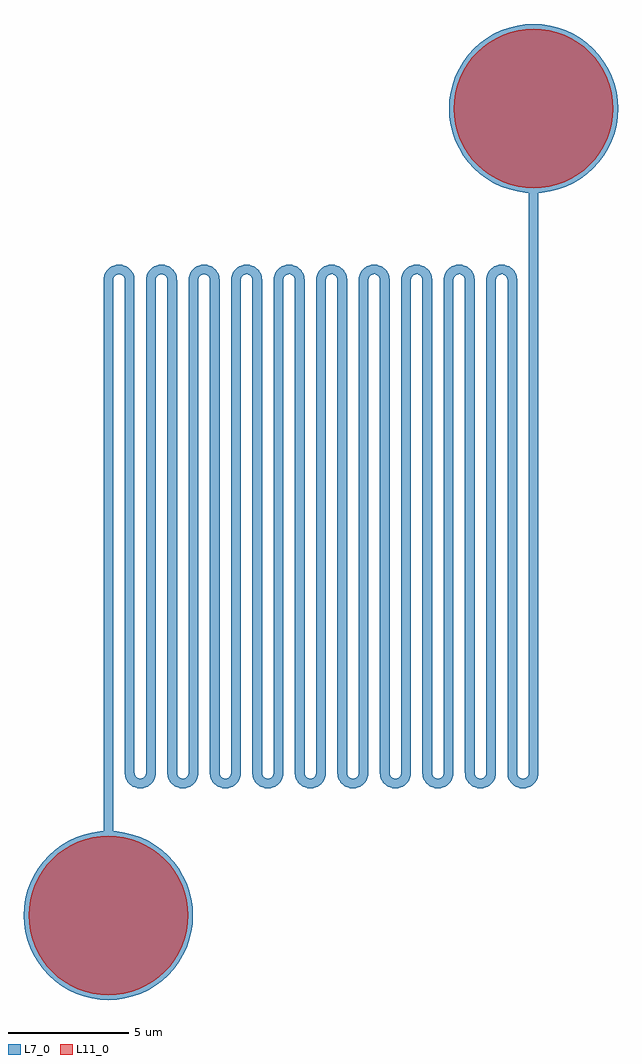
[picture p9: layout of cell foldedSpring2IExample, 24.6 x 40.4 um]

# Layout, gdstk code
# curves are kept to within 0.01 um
import gdstk
lib = gdstk.Library(unit=1e-6, precision=1e-09)
def P(c, l, *ps):  # polygons
    for p in ps: c.add(gdstk.Polygon(p, *l))
L7_0 = (7, 0)
L11_0 = (11, 0)

foldedspring2iexample = lib.new_cell('foldedSpring2IExample')
P(foldedspring2iexample, L7_0, [(0,-3.5),(-0.343,-3.483),(-0.683,-3.433),(-1.016,-3.349),(-1.339,-3.234),(-1.65,-3.087),(-1.944,-2.91),(-2.22,-2.706),(-2.475,-2.475),(-2.706,-2.22),(-2.91,-1.944),(-3.087,-1.65),(-3.234,-1.339),(-3.349,-1.016),(-3.433,-0.683),(-3.483,-0.343),(-3.5,0),(-3.483,0.343),(-3.433,0.683),(-3.349,1.016),(-3.234,1.339),(-3.087,1.65),(-2.91,1.944),(-2.706,2.22),(-2.475,2.475),(-2.22,2.706),(-1.944,2.91),(-1.65,3.087),(-1.339,3.234),(-1.016,3.349),(-0.683,3.433),(-0.2,3.49),(-0.2,16.7),(0.2,16.7),(0.2,3.49),(0.683,3.433),(1.016,3.349),(1.339,3.234),(1.65,3.087),(1.944,2.91),(2.22,2.706),(2.475,2.475),(2.706,2.22),(2.91,1.944),(3.087,1.65),(3.234,1.339),(3.349,1.016),(3.433,0.683),(3.483,0.343),(3.5,0),(3.483,-0.343),(3.433,-0.683),(3.349,-1.016),(3.234,-1.339),(3.087,-1.65),(2.91,-1.944),(2.706,-2.22),(2.475,-2.475),(2.22,-2.706),(1.944,-2.91),(1.65,-3.087),(1.339,-3.234),(1.016,-3.349),(0.683,-3.433),(0.343,-3.483)],
  [(1.32,5.26),(1.104,5.297),(0.964,5.368),(0.867,5.447),(0.741,5.626),(0.699,5.744),(0.681,5.869),(0.68,16.7),(1.08,16.7),(1.08,5.888),(1.098,5.808),(1.15,5.73),(1.228,5.678),(1.308,5.66),(1.412,5.678),(1.49,5.73),(1.542,5.808),(1.56,5.888),(1.56,16.7),(1.96,16.7),(1.959,5.869),(1.941,5.744),(1.899,5.626),(1.773,5.447),(1.676,5.368),(1.536,5.297)],
  [(3.08,5.26),(2.864,5.297),(2.724,5.368),(2.627,5.447),(2.501,5.626),(2.459,5.744),(2.441,5.869),(2.44,16.7),(2.84,16.7),(2.84,5.888),(2.858,5.808),(2.91,5.73),(2.988,5.678),(3.068,5.66),(3.172,5.678),(3.25,5.73),(3.302,5.808),(3.32,5.888),(3.32,16.7),(3.72,16.7),(3.719,5.869),(3.701,5.744),(3.659,5.626),(3.533,5.447),(3.436,5.368),(3.296,5.297)],
  [(4.84,5.26),(4.624,5.297),(4.484,5.368),(4.387,5.447),(4.261,5.626),(4.219,5.744),(4.201,5.869),(4.2,16.7),(4.6,16.7),(4.6,5.888),(4.618,5.808),(4.67,5.73),(4.748,5.678),(4.828,5.66),(4.932,5.678),(5.01,5.73),(5.062,5.808),(5.08,5.888),(5.08,16.7),(5.48,16.7),(5.479,5.869),(5.461,5.744),(5.419,5.626),(5.293,5.447),(5.196,5.368),(5.056,5.297)],
  [(6.6,5.26),(6.384,5.297),(6.244,5.368),(6.147,5.447),(6.021,5.626),(5.979,5.744),(5.961,5.869),(5.96,16.7),(6.36,16.7),(6.36,5.888),(6.378,5.808),(6.43,5.73),(6.508,5.678),(6.588,5.66),(6.692,5.678),(6.77,5.73),(6.822,5.808),(6.84,5.888),(6.84,16.7),(7.24,16.7),(7.239,5.869),(7.221,5.744),(7.179,5.626),(7.053,5.447),(6.956,5.368),(6.816,5.297)],
  [(8.36,5.26),(8.144,5.297),(8.004,5.368),(7.907,5.447),(7.781,5.626),(7.739,5.744),(7.721,5.869),(7.72,16.7),(8.12,16.7),(8.12,5.888),(8.138,5.808),(8.19,5.73),(8.268,5.678),(8.348,5.66),(8.452,5.678),(8.53,5.73),(8.582,5.808),(8.6,5.888),(8.6,16.7),(8.8,16.7),(8.8,5.436),(8.689,5.351),(8.576,5.297)],
  [(8.8,5.436),(8.8,16.7),(9,16.7),(9,5.9),(8.988,5.775),(8.939,5.626),(8.874,5.519)],
  [(10.12,5.26),(9.904,5.297),(9.764,5.368),(9.667,5.447),(9.541,5.626),(9.499,5.744),(9.481,5.869),(9.48,16.7),(9.88,16.7),(9.88,5.888),(9.898,5.808),(9.95,5.73),(10.028,5.678),(10.108,5.66),(10.212,5.678),(10.29,5.73),(10.342,5.808),(10.36,5.888),(10.36,16.7),(10.76,16.7),(10.759,5.869),(10.741,5.744),(10.699,5.626),(10.573,5.447),(10.476,5.368),(10.336,5.297)],
  [(11.88,5.26),(11.664,5.297),(11.524,5.368),(11.427,5.447),(11.301,5.626),(11.259,5.744),(11.241,5.869),(11.24,16.7),(11.64,16.7),(11.64,5.888),(11.658,5.808),(11.71,5.73),(11.788,5.678),(11.868,5.66),(11.972,5.678),(12.05,5.73),(12.102,5.808),(12.12,5.888),(12.12,16.7),(12.52,16.7),(12.519,5.869),(12.501,5.744),(12.459,5.626),(12.333,5.447),(12.236,5.368),(12.096,5.297)],
  [(13.64,5.26),(13.424,5.297),(13.284,5.368),(13.187,5.447),(13.061,5.626),(13.019,5.744),(13.001,5.869),(13,16.7),(13.4,16.7),(13.4,5.888),(13.418,5.808),(13.47,5.73),(13.548,5.678),(13.628,5.66),(13.732,5.678),(13.81,5.73),(13.862,5.808),(13.88,5.888),(13.88,16.7),(14.28,16.7),(14.279,5.869),(14.261,5.744),(14.219,5.626),(14.093,5.447),(13.996,5.368),(13.856,5.297)],
  [(15.4,5.26),(15.184,5.297),(15.044,5.368),(14.947,5.447),(14.821,5.626),(14.779,5.744),(14.761,5.869),(14.76,16.7),(15.16,16.7),(15.16,5.888),(15.178,5.808),(15.23,5.73),(15.308,5.678),(15.388,5.66),(15.492,5.678),(15.57,5.73),(15.622,5.808),(15.64,5.888),(15.64,16.7),(16.04,16.7),(16.039,5.869),(16.021,5.744),(15.979,5.626),(15.853,5.447),(15.756,5.368),(15.616,5.297)],
  [(17.16,5.26),(16.944,5.297),(16.804,5.368),(16.707,5.447),(16.581,5.626),(16.539,5.744),(16.521,5.869),(16.52,16.7),(16.92,16.7),(16.92,5.888),(16.938,5.808),(16.99,5.73),(17.068,5.678),(17.148,5.66),(17.252,5.678),(17.33,5.73),(17.382,5.808),(17.4,5.888),(17.4,16.7),(17.8,16.7),(17.799,5.869),(17.781,5.744),(17.739,5.626),(17.613,5.447),(17.516,5.368),(17.376,5.297)],
  [(8.6,16.7),(8.6,26.3),(8.612,26.425),(8.661,26.574),(8.726,26.681),(8.8,26.764),(8.8,16.7)],
  [(-0.2,16.7),(-0.197,26.363),(-0.139,26.574),(-0.055,26.706),(0.034,26.795),(0.224,26.903),(0.377,26.937),(0.503,26.937),(0.714,26.879),(0.893,26.753),(1.019,26.574),(1.061,26.456),(1.079,26.331),(1.08,16.7),(0.68,16.7),(0.68,26.312),(0.662,26.392),(0.61,26.47),(0.532,26.522),(0.452,26.54),(0.348,26.522),(0.27,26.47),(0.218,26.392),(0.2,26.312),(0.2,16.7)],
  [(1.56,16.7),(1.563,26.363),(1.621,26.574),(1.705,26.706),(1.794,26.795),(1.984,26.903),(2.137,26.937),(2.263,26.937),(2.474,26.879),(2.653,26.753),(2.779,26.574),(2.821,26.456),(2.839,26.331),(2.84,16.7),(2.44,16.7),(2.44,26.312),(2.422,26.392),(2.37,26.47),(2.292,26.522),(2.212,26.54),(2.108,26.522),(2.03,26.47),(1.978,26.392),(1.96,26.312),(1.96,16.7)],
  [(3.32,16.7),(3.323,26.363),(3.381,26.574),(3.465,26.706),(3.554,26.795),(3.744,26.903),(3.897,26.937),(4.023,26.937),(4.234,26.879),(4.413,26.753),(4.539,26.574),(4.581,26.456),(4.599,26.331),(4.6,16.7),(4.2,16.7),(4.2,26.312),(4.182,26.392),(4.13,26.47),(4.052,26.522),(3.972,26.54),(3.868,26.522),(3.79,26.47),(3.738,26.392),(3.72,26.312),(3.72,16.7)],
  [(5.08,16.7),(5.083,26.363),(5.141,26.574),(5.225,26.706),(5.314,26.795),(5.504,26.903),(5.657,26.937),(5.783,26.937),(5.994,26.879),(6.173,26.753),(6.299,26.574),(6.341,26.456),(6.359,26.331),(6.36,16.7),(5.96,16.7),(5.96,26.312),(5.942,26.392),(5.89,26.47),(5.812,26.522),(5.732,26.54),(5.628,26.522),(5.55,26.47),(5.498,26.392),(5.48,26.312),(5.48,16.7)],
  [(6.84,16.7),(6.843,26.363),(6.901,26.574),(6.985,26.706),(7.074,26.795),(7.264,26.903),(7.417,26.937),(7.543,26.937),(7.754,26.879),(7.933,26.753),(8.059,26.574),(8.101,26.456),(8.119,26.331),(8.12,16.7),(7.72,16.7),(7.72,26.312),(7.702,26.392),(7.65,26.47),(7.572,26.522),(7.492,26.54),(7.388,26.522),(7.31,26.47),(7.258,26.392),(7.24,26.312),(7.24,16.7)],
  [(8.8,16.7),(8.8,26.764),(8.911,26.849),(9.024,26.903),(9.146,26.933),(9.271,26.939),(9.396,26.921),(9.514,26.879),(9.693,26.753),(9.819,26.574),(9.861,26.456),(9.879,26.331),(9.88,16.7),(9.48,16.7),(9.48,26.312),(9.462,26.392),(9.41,26.47),(9.332,26.522),(9.252,26.54),(9.148,26.522),(9.07,26.47),(9.018,26.392),(9,26.312),(9,16.7)],
  [(10.36,16.7),(10.363,26.363),(10.421,26.574),(10.505,26.706),(10.594,26.795),(10.784,26.903),(10.937,26.937),(11.063,26.937),(11.274,26.879),(11.453,26.753),(11.579,26.574),(11.621,26.456),(11.639,26.331),(11.64,16.7),(11.24,16.7),(11.24,26.312),(11.222,26.392),(11.17,26.47),(11.092,26.522),(11.012,26.54),(10.908,26.522),(10.83,26.47),(10.778,26.392),(10.76,26.312),(10.76,16.7)],
  [(12.12,16.7),(12.123,26.363),(12.181,26.574),(12.265,26.706),(12.354,26.795),(12.544,26.903),(12.697,26.937),(12.823,26.937),(13.034,26.879),(13.213,26.753),(13.339,26.574),(13.381,26.456),(13.399,26.331),(13.4,16.7),(13,16.7),(13,26.312),(12.982,26.392),(12.93,26.47),(12.852,26.522),(12.772,26.54),(12.668,26.522),(12.59,26.47),(12.538,26.392),(12.52,26.312),(12.52,16.7)],
  [(13.88,16.7),(13.883,26.363),(13.941,26.574),(14.025,26.706),(14.114,26.795),(14.304,26.903),(14.457,26.937),(14.583,26.937),(14.794,26.879),(14.973,26.753),(15.099,26.574),(15.141,26.456),(15.159,26.331),(15.16,16.7),(14.76,16.7),(14.76,26.312),(14.742,26.392),(14.69,26.47),(14.612,26.522),(14.532,26.54),(14.428,26.522),(14.35,26.47),(14.298,26.392),(14.28,26.312),(14.28,16.7)],
  [(15.64,16.7),(15.643,26.363),(15.701,26.574),(15.785,26.706),(15.874,26.795),(16.064,26.903),(16.217,26.937),(16.343,26.937),(16.554,26.879),(16.733,26.753),(16.859,26.574),(16.901,26.456),(16.919,26.331),(16.92,16.7),(16.52,16.7),(16.52,26.312),(16.502,26.392),(16.45,26.47),(16.372,26.522),(16.292,26.54),(16.188,26.522),(16.11,26.47),(16.058,26.392),(16.04,26.312),(16.04,16.7)],
  [(17.4,16.7),(17.4,29.91),(16.917,29.967),(16.584,30.051),(16.261,30.166),(15.95,30.313),(15.656,30.49),(15.38,30.694),(15.125,30.925),(14.894,31.18),(14.69,31.456),(14.513,31.75),(14.366,32.061),(14.251,32.384),(14.167,32.717),(14.117,33.057),(14.1,33.4),(14.117,33.743),(14.167,34.083),(14.251,34.416),(14.366,34.739),(14.513,35.05),(14.69,35.344),(14.894,35.62),(15.125,35.875),(15.38,36.106),(15.656,36.31),(15.95,36.487),(16.261,36.634),(16.584,36.749),(16.917,36.833),(17.257,36.883),(17.6,36.9),(17.943,36.883),(18.283,36.833),(18.616,36.749),(18.939,36.634),(19.25,36.487),(19.544,36.31),(19.82,36.106),(20.075,35.875),(20.306,35.62),(20.51,35.344),(20.687,35.05),(20.834,34.739),(20.949,34.416),(21.033,34.083),(21.083,33.743),(21.1,33.4),(21.083,33.057),(21.033,32.717),(20.949,32.384),(20.834,32.061),(20.687,31.75),(20.51,31.456),(20.306,31.18),(20.075,30.925),(19.82,30.694),(19.544,30.49),(19.25,30.313),(18.939,30.166),(18.616,30.051),(18.283,29.967),(17.8,29.91),(17.8,16.7)])
P(foldedspring2iexample, L11_0, [(0,-3.3),(-0.323,-3.284),(-0.644,-3.237),(-0.958,-3.158),(-1.263,-3.049),(-1.556,-2.91),(-1.833,-2.744),(-2.093,-2.551),(-2.333,-2.333),(-2.551,-2.093),(-2.744,-1.833),(-2.91,-1.556),(-3.049,-1.263),(-3.158,-0.958),(-3.237,-0.644),(-3.284,-0.323),(-3.3,0),(-3.284,0.323),(-3.237,0.644),(-3.158,0.958),(-3.049,1.263),(-2.91,1.556),(-2.744,1.833),(-2.551,2.093),(-2.333,2.333),(-2.093,2.551),(-1.833,2.744),(-1.556,2.91),(-1.263,3.049),(-0.958,3.158),(-0.644,3.237),(-0.323,3.284),(0,3.3),(0.323,3.284),(0.644,3.237),(0.958,3.158),(1.263,3.049),(1.556,2.91),(1.833,2.744),(2.093,2.551),(2.333,2.333),(2.551,2.093),(2.744,1.833),(2.91,1.556),(3.049,1.263),(3.158,0.958),(3.237,0.644),(3.284,0.323),(3.3,0),(3.284,-0.323),(3.237,-0.644),(3.158,-0.958),(3.049,-1.263),(2.91,-1.556),(2.744,-1.833),(2.551,-2.093),(2.333,-2.333),(2.093,-2.551),(1.833,-2.744),(1.556,-2.91),(1.263,-3.049),(0.958,-3.158),(0.644,-3.237),(0.323,-3.284)],
  [(17.6,30.1),(17.277,30.116),(16.956,30.163),(16.642,30.242),(16.337,30.351),(16.044,30.49),(15.767,30.656),(15.507,30.849),(15.267,31.067),(15.049,31.307),(14.856,31.567),(14.69,31.844),(14.551,32.137),(14.442,32.442),(14.363,32.756),(14.316,33.077),(14.3,33.4),(14.316,33.723),(14.363,34.044),(14.442,34.358),(14.551,34.663),(14.69,34.956),(14.856,35.233),(15.049,35.493),(15.267,35.733),(15.507,35.951),(15.767,36.144),(16.044,36.31),(16.337,36.449),(16.642,36.558),(16.956,36.637),(17.277,36.684),(17.6,36.7),(17.923,36.684),(18.244,36.637),(18.558,36.558),(18.863,36.449),(19.156,36.31),(19.433,36.144),(19.693,35.951),(19.933,35.733),(20.151,35.493),(20.344,35.233),(20.51,34.956),(20.649,34.663),(20.758,34.358),(20.837,34.044),(20.884,33.723),(20.9,33.4),(20.884,33.077),(20.837,32.756),(20.758,32.442),(20.649,32.137),(20.51,31.844),(20.344,31.567),(20.151,31.307),(19.933,31.067),(19.693,30.849),(19.433,30.656),(19.156,30.49),(18.863,30.351),(18.558,30.242),(18.244,30.163),(17.923,30.116)])

lib.write_gds('foldedSpring2IExample.gds')
